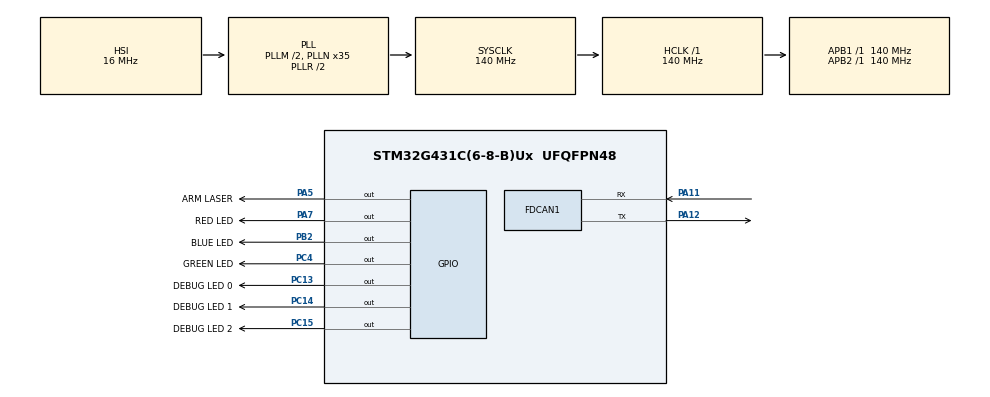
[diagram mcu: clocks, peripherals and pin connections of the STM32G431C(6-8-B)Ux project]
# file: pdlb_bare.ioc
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FDCAN1.CalculateBaudRateNominal=1000000
FDCAN1.CalculateTimeBitNominal=1000
FDCAN1.CalculateTimeQuantumNominal=7.142857142857143
FDCAN1.DataPrescaler=5
FDCAN1.DataSyncJumpWidth=13
FDCAN1.DataTimeSeg1=14
FDCAN1.DataTimeSeg2=13
FDCAN1.FrameFormat=FDCAN_FRAME_FD_NO_BRS
FDCAN1.NominalPrescaler=1
FDCAN1.NominalSyncJumpWidth=19
FDCAN1.NominalTimeSeg1=120
FDCAN1.NominalTimeSeg2=19
Mcu.Family=STM32G4
Mcu.Name=STM32G431C(6-8-B)Ux
Mcu.Package=UFQFPN48
NVIC.FDCAN1_IT0_IRQn=true\:0\:0\:false\:false\:true\:true\:true\:true
NVIC.PriorityGroup=NVIC_PRIORITYGROUP_4
NVIC.TIM6_DAC_IRQn=true\:1\:0\:true\:false\:true\:true\:true\:true
PA11.Mode=FDCAN_Activate
PA11.Signal=FDCAN1_RX
PA12.Mode=FDCAN_Activate
PA12.Signal=FDCAN1_TX
PA13.Mode=Serial_Wire
PA13.Signal=SYS_JTMS-SWDIO
PA14.Mode=Serial_Wire
PA14.Signal=SYS_JTCK-SWCLK
PA5.GPIO_Label=ARM LASER
PA5.Signal=GPIO_Output
PA7.GPIO_Label=RED LED
PA7.Signal=GPIO_Output
PB2.GPIO_Label=BLUE LED
PB2.Signal=GPIO_Output
PC13.GPIO_Label=DEBUG LED 0
PC13.Signal=GPIO_Output
PC14-OSC32_IN.GPIO_Label=DEBUG LED 1
PC14-OSC32_IN.Signal=GPIO_Output
PC15-OSC32_OUT.GPIO_Label=DEBUG LED 2
PC15-OSC32_OUT.Signal=GPIO_Output
PC4.GPIO_Label=GREEN LED
PC4.Signal=GPIO_Output
ProjectManager.HeapSize=0x200
ProjectManager.StackSize=0x400
ProjectManager.TargetToolchain=STM32CubeIDE
RCC.ADC12Freq_Value=140000000
RCC.AHBFreq_Value=140000000
RCC.APB1Freq_Value=140000000
RCC.APB1TimFreq_Value=140000000
RCC.APB2Freq_Value=140000000
RCC.APB2TimFreq_Value=140000000
RCC.CortexFreq_Value=140000000
RCC.EXTERNAL_CLOCK_VALUE=12288000
RCC.HCLKFreq_Value=140000000
RCC.HSE_VALUE=8000000
RCC.HSI48_VALUE=48000000
RCC.HSI_VALUE=16000000
RCC.LSE_VALUE=32768
RCC.PLLM=RCC_PLLM_DIV2
RCC.PLLN=35
RCC.SYSCLKFreq_VALUE=140000000
RCC.SYSCLKSource=RCC_SYSCLKSOURCE_PLLCLK
RCC.USBFreq_Value=140000000
RCC.VCOOutputFreq_Value=280000000
TIM6.PeriodNoDither=999
TIM6.Prescaler=13999
VP_SYS_VS_DBSignals.Mode=DisableDeadBatterySignals
VP_TIM6_VS_ClockSourceINT.Mode=Enable_Timer
board=custom

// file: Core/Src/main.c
/* USER CODE BEGIN Header */
/**
  ******************************************************************************
  * @file           : main.c
  * @brief          : Main program body
  ******************************************************************************
  * @attention
  *
  * Copyright (c) 2024 STMicroelectronics.
  * All rights reserved.
  *
  * This software is licensed under terms that can be found in the LICENSE file
  * in the root directory of this software component.
  * If no LICENSE file comes with this software, it is provided AS-IS.
  *
  ******************************************************************************
  */
/* USER CODE END Header */
#include "main.h"

FDCAN_HandleTypeDef hfdcan1;

TIM_HandleTypeDef htim6;

void SystemClock_Config(void);
static void MX_GPIO_Init(void);
static void MX_FDCAN1_Init(void);
static void MX_TIM6_Init(void);

int main(void)
{

  /* MCU Configuration--------------------------------------------------------*/

  /* Reset of all peripherals, Initializes the Flash interface and the Systick. */
  HAL_Init();

  /* Configure the system clock */
  SystemClock_Config();

  /* USER CODE BEGIN SysInit */
#ifdef VECT_TAB_SRAM
  SCB->VTOR = SRAM_BASE;
#else
  SCB->VTOR = FLASH_BASE;
#endif

  if ((FLASH->OPTR & FLASH_OPTR_nSWBOOT0_Msk) != 0x0 || ((FLASH->OPTR & FLASH_OPTR_nBOOT0_Msk) == 0x0))
      {
          while ((FLASH->SR & FLASH_SR_BSY_Msk) != 0x0) { ; }
          FLASH->KEYR = 0x45670123;
          while ((FLASH->SR & FLASH_SR_BSY_Msk) != 0x0) { ; }
          FLASH->KEYR = 0xCDEF89AB;

          while ((FLASH->SR & FLASH_SR_BSY_Msk) != 0x0) { ; }
          FLASH->OPTKEYR = 0x08192A3B;
          while ((FLASH->SR & FLASH_SR_BSY_Msk) != 0x0) { ; }
          FLASH->OPTKEYR = 0x4C5D6E7F;

          while ((FLASH->SR & FLASH_SR_BSY_Msk) != 0x0) { ; }
          FLASH->OPTR = (FLASH->OPTR & ~(FLASH_OPTR_nSWBOOT0_Msk)) | FLASH_OPTR_nBOOT0_Msk;

          while ((FLASH->SR & FLASH_SR_BSY_Msk) != 0x0) { ; }
          FLASH->CR = FLASH->CR | FLASH_CR_OPTSTRT;

          while ((FLASH->SR & FLASH_SR_BSY_Msk) != 0x0) { ; }
      }
  /* USER CODE END SysInit */

  /* Initialize all configured peripherals */
  MX_GPIO_Init();
  MX_FDCAN1_Init();
  MX_TIM6_Init();
  /* USER CODE BEGIN 2 */
  init();
  /* USER CODE END 2 */

  /* Infinite loop */
  while (1)
  {

  }
}

void SystemClock_Config(void)
{
  RCC_OscInitTypeDef RCC_OscInitStruct = {0};
  RCC_ClkInitTypeDef RCC_ClkInitStruct = {0};

  /** Configure the main internal regulator output voltage
  */
  HAL_PWREx_ControlVoltageScaling(PWR_REGULATOR_VOLTAGE_SCALE1);

  /** Initializes the RCC Oscillators according to the specified parameters
  * in the RCC_OscInitTypeDef structure.
  */
  RCC_OscInitStruct.OscillatorType = RCC_OSCILLATORTYPE_HSI;
  RCC_OscInitStruct.HSIState = RCC_HSI_ON;
  RCC_OscInitStruct.HSICalibrationValue = RCC_HSICALIBRATION_DEFAULT;
  RCC_OscInitStruct.PLL.PLLState = RCC_PLL_ON;
  RCC_OscInitStruct.PLL.PLLSource = RCC_PLLSOURCE_HSI;
  RCC_OscInitStruct.PLL.PLLM = RCC_PLLM_DIV2;
  RCC_OscInitStruct.PLL.PLLN = 35;
  RCC_OscInitStruct.PLL.PLLP = RCC_PLLP_DIV2;
  RCC_OscInitStruct.PLL.PLLQ = RCC_PLLQ_DIV2;
  RCC_OscInitStruct.PLL.PLLR = RCC_PLLR_DIV2;
  if (HAL_RCC_OscConfig(&RCC_OscInitStruct) != HAL_OK)
  {
    Error_Handler();
  }

  /** Initializes the CPU, AHB and APB buses clocks
  */
  RCC_ClkInitStruct.ClockType = RCC_CLOCKTYPE_HCLK|RCC_CLOCKTYPE_SYSCLK
                              |RCC_CLOCKTYPE_PCLK1|RCC_CLOCKTYPE_PCLK2;
  RCC_ClkInitStruct.SYSCLKSource = RCC_SYSCLKSOURCE_PLLCLK;
  RCC_ClkInitStruct.AHBCLKDivider = RCC_SYSCLK_DIV1;
  RCC_ClkInitStruct.APB1CLKDivider = RCC_HCLK_DIV1;
  RCC_ClkInitStruct.APB2CLKDivider = RCC_HCLK_DIV1;

  if (HAL_RCC_ClockConfig(&RCC_ClkInitStruct, FLASH_LATENCY_4) != HAL_OK)
  {
    Error_Handler();
  }
}

static void MX_FDCAN1_Init(void)
{

  hfdcan1.Instance = FDCAN1;
  hfdcan1.Init.ClockDivider = FDCAN_CLOCK_DIV1;
  hfdcan1.Init.FrameFormat = FDCAN_FRAME_FD_NO_BRS;
  hfdcan1.Init.Mode = FDCAN_MODE_NORMAL;
  hfdcan1.Init.AutoRetransmission = DISABLE;
  hfdcan1.Init.TransmitPause = DISABLE;
  hfdcan1.Init.ProtocolException = DISABLE;
  hfdcan1.Init.NominalPrescaler = 1;
  hfdcan1.Init.NominalSyncJumpWidth = 19;
  hfdcan1.Init.NominalTimeSeg1 = 120;
  hfdcan1.Init.NominalTimeSeg2 = 19;
  hfdcan1.Init.DataPrescaler = 5;
  hfdcan1.Init.DataSyncJumpWidth = 13;
  hfdcan1.Init.DataTimeSeg1 = 14;
  hfdcan1.Init.DataTimeSeg2 = 13;
  hfdcan1.Init.StdFiltersNbr = 0;
  hfdcan1.Init.ExtFiltersNbr = 0;
  hfdcan1.Init.TxFifoQueueMode = FDCAN_TX_FIFO_OPERATION;
  if (HAL_FDCAN_Init(&hfdcan1) != HAL_OK)
  {
    Error_Handler();
  }

}

static void MX_TIM6_Init(void)
{

  TIM_MasterConfigTypeDef sMasterConfig = {0};

  htim6.Instance = TIM6;
  htim6.Init.Prescaler = 13999;
  htim6.Init.CounterMode = TIM_COUNTERMODE_UP;
  htim6.Init.Period = 999;
  htim6.Init.AutoReloadPreload = TIM_AUTORELOAD_PRELOAD_DISABLE;
  if (HAL_TIM_Base_Init(&htim6) != HAL_OK)
  {
    Error_Handler();
  }
  sMasterConfig.MasterOutputTrigger = TIM_TRGO_RESET;
  sMasterConfig.MasterSlaveMode = TIM_MASTERSLAVEMODE_DISABLE;
  if (HAL_TIMEx_MasterConfigSynchronization(&htim6, &sMasterConfig) != HAL_OK)
  {
    Error_Handler();
  }

}

static void MX_GPIO_Init(void)
{
  GPIO_InitTypeDef GPIO_InitStruct = {0};

  /* GPIO Ports Clock Enable */
  __HAL_RCC_GPIOC_CLK_ENABLE();
  __HAL_RCC_GPIOA_CLK_ENABLE();
  __HAL_RCC_GPIOB_CLK_ENABLE();

  /*Configure GPIO pin Output Level */
  HAL_GPIO_WritePin(GPIOC, DEBUG_LED_0_Pin|DEBUG_LED_1_Pin|DEBUG_LED_2_Pin|GREEN_LED_Pin, GPIO_PIN_RESET);

  /*Configure GPIO pin Output Level */
  HAL_GPIO_WritePin(GPIOA, ARM_LASER_Pin|RED_LED_Pin, GPIO_PIN_RESET);

  /*Configure GPIO pin Output Level */
  HAL_GPIO_WritePin(BLUE_LED_GPIO_Port, BLUE_LED_Pin, GPIO_PIN_RESET);

  /*Configure GPIO pins : DEBUG_LED_0_Pin DEBUG_LED_1_Pin DEBUG_LED_2_Pin GREEN_LED_Pin */
  GPIO_InitStruct.Pin = DEBUG_LED_0_Pin|DEBUG_LED_1_Pin|DEBUG_LED_2_Pin|GREEN_LED_Pin;
  GPIO_InitStruct.Mode = GPIO_MODE_OUTPUT_PP;
  GPIO_InitStruct.Pull = GPIO_NOPULL;
  GPIO_InitStruct.Speed = GPIO_SPEED_FREQ_LOW;
  HAL_GPIO_Init(GPIOC, &GPIO_InitStruct);

  /*Configure GPIO pins : ARM_LASER_Pin RED_LED_Pin */
  GPIO_InitStruct.Pin = ARM_LASER_Pin|RED_LED_Pin;
  GPIO_InitStruct.Mode = GPIO_MODE_OUTPUT_PP;
  GPIO_InitStruct.Pull = GPIO_NOPULL;
  GPIO_InitStruct.Speed = GPIO_SPEED_FREQ_LOW;
  HAL_GPIO_Init(GPIOA, &GPIO_InitStruct);

  /*Configure GPIO pin : BLUE_LED_Pin */
  GPIO_InitStruct.Pin = BLUE_LED_Pin;
  GPIO_InitStruct.Mode = GPIO_MODE_OUTPUT_PP;
  GPIO_InitStruct.Pull = GPIO_NOPULL;
  GPIO_InitStruct.Speed = GPIO_SPEED_FREQ_LOW;
  HAL_GPIO_Init(BLUE_LED_GPIO_Port, &GPIO_InitStruct);

}

/* USER CODE BEGIN 4 */
void HAL_FDCAN_RxFifo0Callback(FDCAN_HandleTypeDef *hfdcan, uint32_t RxFifo0ITs) {
  if((RxFifo0ITs & FDCAN_IT_RX_FIFO0_NEW_MESSAGE) != RESET)
  {
    receive_message();
  }
}

/* USER CODE END 4 */

void Error_Handler(void)
{
  __disable_irq();
  while (1)
  {
  }
}
